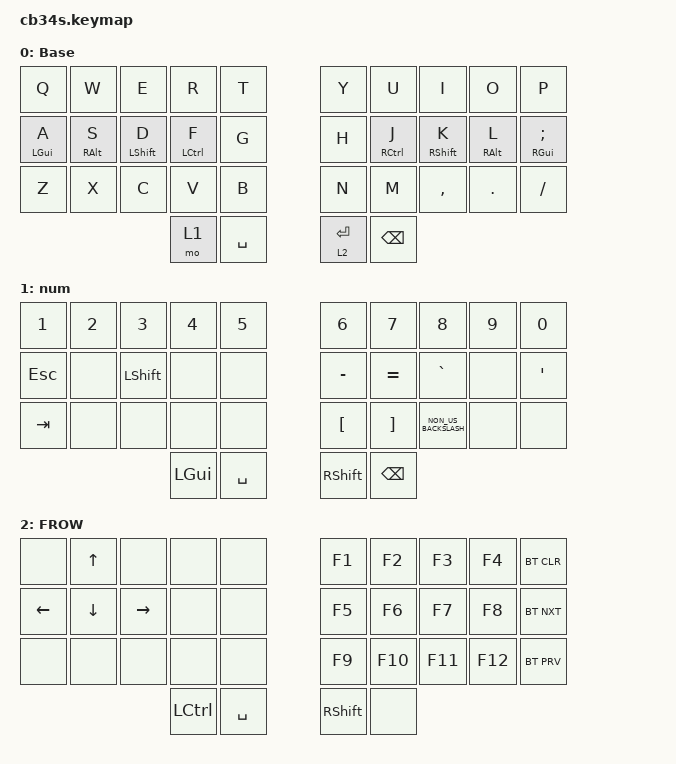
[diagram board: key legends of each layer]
/*
 * Copyright (c) 2020 The ZMK Contributors
 *
 * SPDX-License-Identifier: MIT
 */

#include <behaviors.dtsi>
#include <dt-bindings/zmk/bt.h>
#include <dt-bindings/zmk/keys.h>

#define DEFAULT_L 	0
#define MAC_L	    1
#define KNEIR_L     2
#define NUMSYM_L 	3
#define NAV_L 		4
#define BLE_L 		5
#define COMFY_L		6
#define NUMBERS_L	7
#define COMMA_L	    8

// Sticky Layer Behavior - release sticky behavior after x ms
// ===========================================================================================================

/ {
    combos {
        compatible = "zmk,combos";

        // tutaj możesz dodać definicje combos
    };

    behaviors {
        hm: homerow_mods {
            compatible = "zmk,behavior-hold-tap";
            label = "homerow mods";
            #binding-cells = <2>;
            tapping-term-ms = <200>;
            quick-tap-ms = <0>;
            flavor = "tap-preferred";
            bindings = <&kp>, <&kp>;
        };
    };

    keymap {
        compatible = "zmk,keymap";

        // ===========================================================================================================
        // 0 = Default

        default_layer {
            label = "Base";
            bindings = <
&kp Q           &kp W            &kp E             &kp R        &kp T      &kp Y        &kp U          &kp I              &kp O            &kp P
&hm LEFT_GUI A  &hm RIGHT_ALT S  &hm LEFT_SHIFT D  &hm LCTRL F  &kp G      &kp H        &hm RCTRL J    &hm RIGHT_SHIFT K  &hm RIGHT_ALT L  &hm RIGHT_GUI SEMICOLON
&kp Z           &kp X            &kp C             &kp V        &kp B      &kp N        &kp M          &kp COMMA          &kp DOT          &kp SLASH
                                                   &mo 1        &kp SPACE  &lt 2 ENTER  &kp BACKSPACE
            >;
        };

        // ===========================================================================================================
        // 1 = Numbers

        numbers {
            label = "num";
            bindings = <
&kp NUMBER_1  &kp NUMBER_2  &kp NUMBER_3    &kp NUMBER_4  &kp N5     &kp NUMBER_6      &kp N7             &kp N8                &kp N9  &kp N0
&kp ESC       &none         &kp LEFT_SHIFT  &none         &none      &kp MINUS         &kp EQUAL          &kp GRAVE             &none   &kp SQT
&kp TAB       &none         &none           &none         &none      &kp LEFT_BRACKET  &kp RIGHT_BRACKET  &kp NON_US_BACKSLASH  &none   &none
                                            &kp LGUI      &kp SPACE  &kp RSHIFT        &kp BACKSPACE
            >;
        };

        // ===========================================================================================================
        // 2 = F-Row

        f_row {
            label = "FROW";
            bindings = <
&none           &kp UP_ARROW    &none            &none      &none      &kp F1      &kp F2   &kp F3   &kp F4   &bt BT_CLR
&kp LEFT_ARROW  &kp DOWN_ARROW  &kp RIGHT_ARROW  &none      &none      &kp F5      &kp F6   &kp F7   &kp F8   &bt BT_NXT
&none           &none           &none            &none      &none      &kp F9      &kp F10  &kp F11  &kp F12  &bt BT_PRV
                                                 &kp LCTRL  &kp SPACE  &kp RSHIFT  &none
            >;
        };

        // ===========================================================================================================
        // 3 = Symbols
        // ===========================================================================================================
        // 4 = Navigation (szczegóły do uzupełnienia)
        // ===========================================================================================================
        // 5 = Bluetooth (szczegóły do uzupełnienia)
        // ===========================================================================================================
        // 6 = Comfort (szczegóły do uzupełnienia)
        // ===========================================================================================================
        // 7 = Numbers (wariant drugi, do uzupełnienia)
        // ===========================================================================================================
        // 8 = Comfort Mac (szczegóły do uzupełnienia)
    };
};
